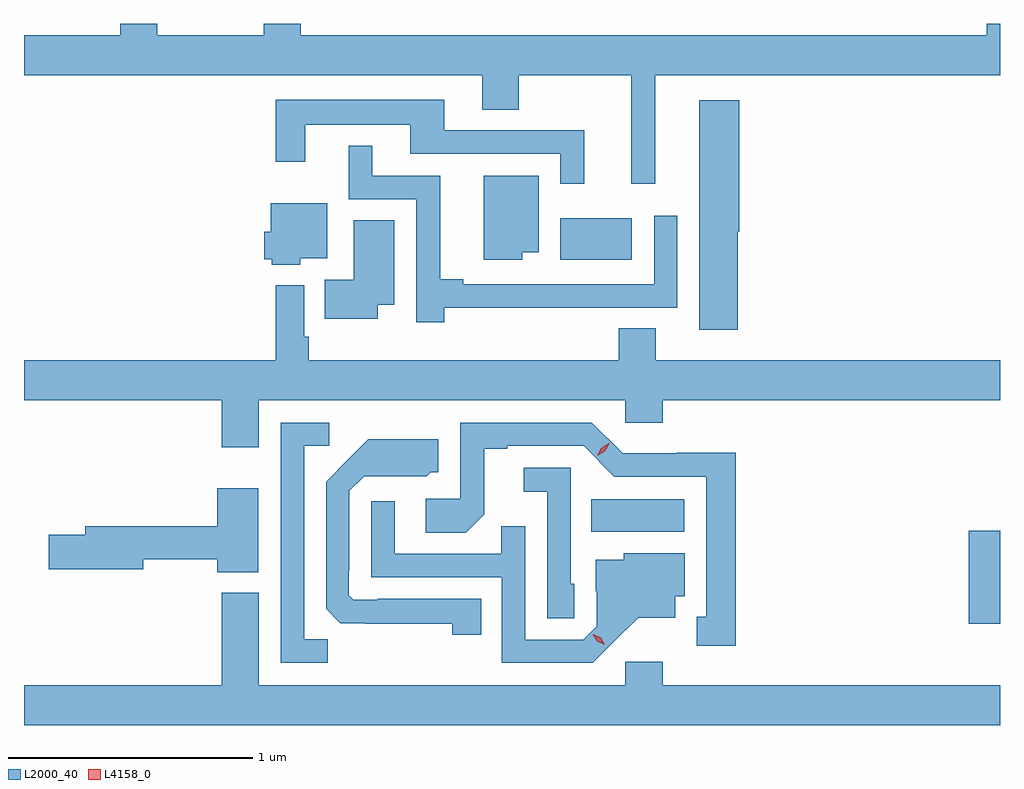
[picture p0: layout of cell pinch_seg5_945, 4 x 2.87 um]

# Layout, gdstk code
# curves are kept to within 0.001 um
import gdstk
lib = gdstk.Library(unit=1e-6, precision=1e-09)
def R(c, l, rs):  # rectangles x0, y0, x1, y1
    for r in rs: c.add(gdstk.rectangle(r[:2], r[2:], *l))
def P(c, l, *ps):  # polygons
    for p in ps: c.add(gdstk.Polygon(p, *l))
L2000_40 = (2000, 40)
L4158_0 = (4158, 0)

pinch_seg5_945 = lib.new_cell('pinch_seg5_945')
R(pinch_seg5_945, L2000_40, [(703.016,893.139,703.145,893.52), (701.47,893.516,701.851,893.65), (701.342,894.632,701.635,894.802)])
P(pinch_seg5_945, L2000_40, [(700.28,895.598),(700.127,895.598),(700.127,895.552),(699.691,895.552),(699.691,895.598),(699.539,895.598),(699.539,895.552),(699.145,895.552),(699.145,895.388),(701.024,895.388),(701.024,895.246),(701.172,895.246),(701.172,895.388),(701.633,895.388),(701.633,894.942),(701.732,894.942),(701.732,895.388),(703.145,895.388),(703.145,895.598),(703.091,895.598),(703.091,895.552),(700.28,895.552)],
  [(701.441,895.161),(700.867,895.161),(700.867,895.288),(700.176,895.288),(700.176,895.032),(700.297,895.032),(700.297,895.184),(700.727,895.184),(700.727,895.065),(701.343,895.065),(701.343,894.942),(701.441,894.942)],
  [(702.071,894.747),(702.076,894.747),(702.076,895.285),(701.912,895.285),(701.912,894.345),(702.071,894.345)],
  [(700.868,894.434),(701.498,894.434),(701.498,894.435),(701.823,894.435),(701.823,894.811),(701.727,894.811),(701.727,894.531),(700.945,894.531),(700.945,894.551),(700.85,894.551),(700.85,894.975),(700.573,894.975),(700.573,895.099),(700.475,895.099),(700.475,894.879),(700.752,894.879),(700.752,894.375),(700.868,894.375)],
  [(701.188,894.662),(701.254,894.662),(701.254,894.976),(701.03,894.976),(701.03,894.632),(701.188,894.632)],
  [(700.278,894.638),(700.387,894.638),(700.387,894.862),(700.157,894.862),(700.157,894.747),(700.13,894.747),(700.13,894.633),(700.161,894.633),(700.161,894.611),(700.278,894.611)],
  [(700.594,894.446),(700.663,894.446),(700.663,894.794),(700.496,894.794),(700.496,894.55),(700.378,894.55),(700.378,894.389),(700.594,894.389)],
  [(700.108,894.056),(701.61,894.056),(701.61,893.963),(701.762,893.963),(701.762,894.056),(703.145,894.056),(703.145,894.22),(701.734,894.22),(701.734,894.35),(701.582,894.35),(701.582,894.22),(700.313,894.22),(700.313,894.316),(700.293,894.316),(700.293,894.526),(700.177,894.526),(700.177,894.22),(699.145,894.22),(699.145,894.056),(699.956,894.056),(699.956,893.862),(700.108,893.862)],
  [(700.389,893.075),(700.293,893.075),(700.293,893.868),(700.396,893.868),(700.396,893.964),(700.197,893.964),(700.197,892.98),(700.389,892.98)],
  [(702.061,893.84),(701.82,893.84),(701.82,893.838),(701.598,893.838),(701.472,893.964),(700.932,893.964),(700.932,893.652),(700.791,893.652),(700.791,893.512),(700.955,893.512),(701.031,893.588),(701.031,893.856),(701.125,893.856),(701.125,893.868),(701.439,893.868),(701.565,893.742),(701.942,893.742),(701.942,893.169),(701.903,893.169),(701.903,893.049),(702.061,893.049)],
  [(701.018,893.241),(700.594,893.241),(700.594,893.238),(700.494,893.238),(700.476,893.256),(700.476,893.356),(700.479,893.356),(700.479,893.685),(700.539,893.745),(700.796,893.744),(700.812,893.76),(700.843,893.76),(700.843,893.896),(700.555,893.896),(700.383,893.722),(700.383,893.2),(700.442,893.141),(700.9,893.14),(700.9,893.094),(701.018,893.094)],
  [(701.4,893.304),(701.385,893.304),(701.385,893.778),(701.193,893.778),(701.193,893.681),(701.289,893.681),(701.289,893.161),(701.4,893.161)],
  [(700.105,893.695),(699.938,893.695),(699.938,893.54),(699.395,893.54),(699.395,893.504),(699.246,893.504),(699.246,893.362),(699.634,893.362),(699.634,893.404),(699.938,893.404),(699.938,893.351),(700.105,893.351)],
  [(701.56,893.063),(701.663,893.165),(701.815,893.165),(701.815,893.252),(701.854,893.252),(701.854,893.428),(701.604,893.428),(701.604,893.401),(701.489,893.401),(701.489,893.272),(701.493,893.272),(701.493,893.13),(701.436,893.073),(701.199,893.073),(701.199,893.54),(701.101,893.54),(701.101,893.427),(700.665,893.427),(700.665,893.641),(700.569,893.641),(700.569,893.331),(701.103,893.331),(701.103,892.98),(701.476,892.98)],
  [(703.145,892.888),(701.762,892.888),(701.762,892.984),(701.61,892.984),(701.61,892.888),(700.108,892.888),(700.108,893.266),(699.956,893.266),(699.956,892.888),(699.145,892.888),(699.145,892.724),(703.145,892.724)])
P(pinch_seg5_945, L4158_0, [(701.494,893.827),(701.494,893.827),(701.511,893.859),(701.542,893.879),(701.543,893.879),(701.543,893.878),(701.526,893.846),(701.494,893.827)],
  [(701.525,893.053),(701.494,893.067),(701.476,893.096),(701.476,893.097),(701.477,893.097),(701.508,893.082),(701.526,893.053),(701.526,893.053)])

lib.write_gds('pinch_seg5_945.gds')
